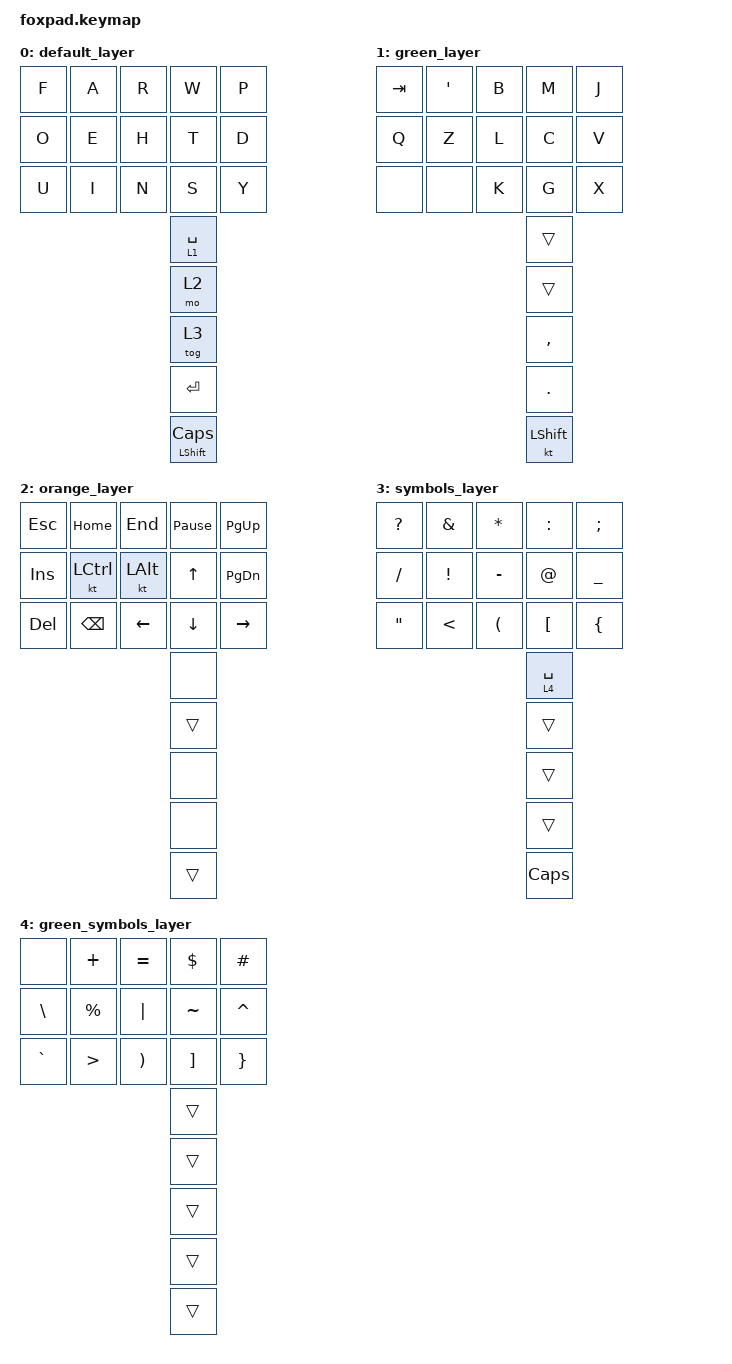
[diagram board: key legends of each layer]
/*
 * Copyright (c) 2020 The ZMK Contributors
 *
 * SPDX-License-Identifier: MIT
 */

#include <behaviors.dtsi>
#include <dt-bindings/zmk/keys.h>
#include <dt-bindings/zmk/bt.h>

/ {
    keymap {
        compatible = "zmk,keymap";

        /* 0 */ default_layer {
            bindings = <
                &kp F  &kp A  &kp R  &kp W  &kp P
                &kp O  &kp E  &kp H  &kp T  &kp D
                &kp U  &kp I  &kp N  &kp S  &kp Y

                /* Space/Green   */ &lt 1 SPACE
                /* Number/Oragne */ &mo 2
                /* Symbol        */ &tog 3
                /* Enter         */ &kp ENTER
                /* Shift         */ &mt LSHIFT CAPS
            >;
        };

        /* 1 */ green_layer {
            bindings = <
                &kp TAB  &kp APOS  &kp B  &kp M  &kp J
                &kp Q    &kp Z     &kp L  &kp C  &kp V
                &none    &none     &kp K  &kp G  &kp X

                /* Space/Green   */ &trans
                /* Number/Oragne */ &trans
                /* Symbol        */ &kp COMMA
                /* Enter         */ &kp PERIOD
                /* Shift         */ &kt LSHIFT
            >;
        };

        /* 2 */ orange_layer {
            bindings = <
                &kp ESC     &kp HOME       &kp END    &kp PAUSE_BREAK  &kp PAGE_UP
                &kp INSERT  &kt LCTRL      &kt LALT   &kp UP           &kp PAGE_DOWN
                &kp DELETE  &kp BACKSPACE  &kp LEFT   &kp DOWN         &kp RIGHT

                /* Space/Green   */ &none
                /* Number/Oragne */ &trans
                /* Symbol        */ &none
                /* Enter         */ &none
                /* Shift         */ &trans
            >;
        };

        /* 3 */ symbols_layer {
            bindings = <
                &kp QUESTION       &kp AMPERSAND    &kp ASTERISK          &kp COLON         &kp SEMICOLON
                &kp SLASH          &kp EXCLAMATION  &kp MINUS             &kp AT_SIGN       &kp UNDERSCORE
                &kp DOUBLE_QUOTES  &kp LESS_THAN    &kp LEFT_PARENTHESIS  &kp LEFT_BRACKET  &kp LEFT_BRACE

                /* Space/Green   */ &lt 4 SPACE
                /* Number/Oragne */ &trans
                /* Symbol        */ &trans
                /* Enter         */ &trans
                /* Shift         */ &kp CAPS
            >;
        };

        /* 4 */ green_symbols_layer {
            bindings = <
                &none          &kp PLUS          &kp EQUAL              &kp DOLLAR         &kp HASH
                &kp BACKSLASH  &kp PERCENT       &kp PIPE               &kp TILDE          &kp CARET
                &kp GRAVE      &kp GREATER_THAN  &kp RIGHT_PARENTHESIS  &kp RIGHT_BRACKET  &kp RIGHT_BRACE

                /* Space/Green   */ &trans
                /* Number/Oragne */ &trans
                /* Symbol        */ &trans
                /* Enter         */ &trans
                /* Shift         */ &trans
            >;
        };
    };
};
